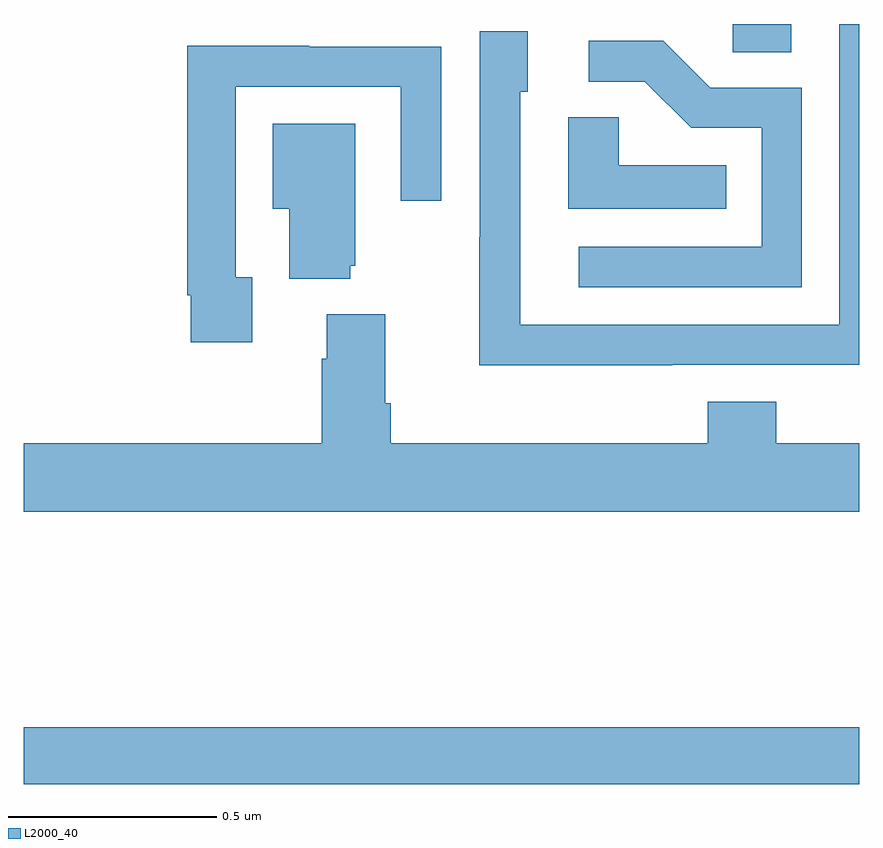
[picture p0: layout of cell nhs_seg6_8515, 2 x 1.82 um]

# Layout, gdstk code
import gdstk
lib = gdstk.Library(unit=1e-6, precision=1e-09)
def R(c, l, rs):  # rectangles x0, y0, x1, y1
    for r in rs: c.add(gdstk.rectangle(r[:2], r[2:], *l))
def P(c, l, *ps):  # polygons
    for p in ps: c.add(gdstk.Polygon(p, *l))
L2000_40 = (2000, 40)

nhs_seg6_8515 = lib.new_cell('nhs_seg6_8515')
R(nhs_seg6_8515, L2000_40, [(222,950.68,224,950.816), (223.698,952.432,223.837,952.5)])
P(nhs_seg6_8515, L2000_40, [(223.553,951.684),(224,951.684),(224,952.5),(223.953,952.5),(223.953,951.78),(223.188,951.78),(223.188,952.338),(223.207,952.338),(223.207,952.483),(223.092,952.483),(223.092,951.989),(223.09,951.989),(223.09,951.683),(223.553,951.683)],
  [(223.863,952.347),(223.644,952.347),(223.531,952.46),(223.353,952.46),(223.353,952.362),(223.487,952.362),(223.598,952.251),(223.767,952.251),(223.767,951.966),(223.329,951.966),(223.329,951.87),(223.863,951.87)],
  [(222.547,951.894),(222.507,951.894),(222.507,952.35),(222.903,952.35),(222.903,952.077),(222.999,952.077),(222.999,952.446),(222.683,952.446),(222.683,952.448),(222.391,952.448),(222.391,951.85),(222.399,951.85),(222.399,951.738),(222.547,951.738)],
  [(223.682,952.162),(223.425,952.162),(223.425,952.277),(223.304,952.277),(223.304,952.058),(223.682,952.058)],
  [(222.782,951.921),(222.793,951.921),(222.793,952.261),(222.596,952.261),(222.596,952.058),(222.635,952.058),(222.635,951.89),(222.782,951.89)],
  [(224,951.496),(223.802,951.496),(223.802,951.595),(223.637,951.595),(223.637,951.496),(222.878,951.496),(222.878,951.592),(222.865,951.592),(222.865,951.805),(222.725,951.805),(222.725,951.698),(222.713,951.698),(222.713,951.496),(222,951.496),(222,951.332),(224,951.332)])

lib.write_gds('nhs_seg6_8515.gds')
